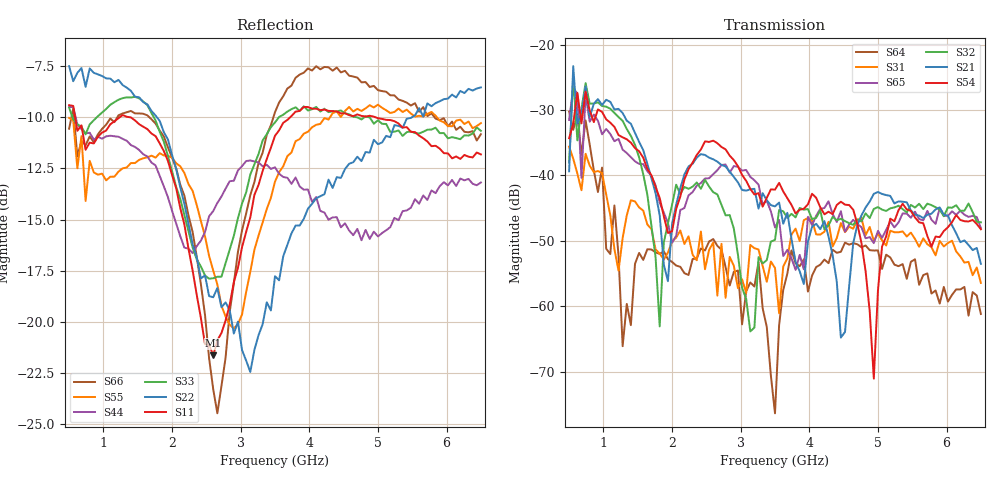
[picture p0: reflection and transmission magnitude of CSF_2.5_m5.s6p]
!Keysight Technologies,M9804A,MY58100912,A.14.10.03
!Date: Thursday, April 27, 2023 10:28:33
!Correction: S11(C  6-Port  )
!S12(C  6-Port  )
!S13(C  6-Port  )
!S14(C  6-Port  )
!S15(C  6-Port  )
!S16(C  6-Port  )
!S21(C  6-Port  )
!S22(C  6-Port  )
!S23(C  6-Port  )
!S24(C  6-Port  )
!S25(C  6-Port  )
!S26(C  6-Port  )
!S31(C  6-Port  )
!S32(C  6-Port  )
!S33(C  6-Port  )
!S34(C  6-Port  )
!S35(C  6-Port  )
!S36(C  6-Port  )
!S41(C  6-Port  )
!S42(C  6-Port  )
!S43(C  6-Port  )
!S44(C  6-Port  )
!S45(C  6-Port  )
!S46(C  6-Port  )
!S51(C  6-Port  )
!S52(C  6-Port  )
!S53(C  6-Port  )
!S54(C  6-Port  )
!S55(C  6-Port  )
!S56(C  6-Port  )
!S61(C  6-Port  )
!S62(C  6-Port  )
!S63(C  6-Port  )
!S64(C  6-Port  )
!S65(C  6-Port  )
!S66(C  6-Port  )
!S6P File: Measurement: :
# Hz S  RI  R 50
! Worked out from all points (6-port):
!   101 points, 500 MHz to 6.5 GHz, reference 50 ohm
!   strongest paths, dB at 500 MHz, 2 GHz, 3.5 GHz, 5 GHz, 6.5 GHz:
!     S54: -34.3, -48.5, -42.2, -57.6, -48.2
!     S21: -39.4, -47.4, -44.7, -42.5, -53.5
!     S32: -38.0, -44.5, -49.9, -44.8, -47.2
!     S65: -31.5, -50.3, -48.0, -48.5, -48.1
!     S31: -35.6, -50.1, -54.1, -48.9, -56.4
!     S64: -30.3, -53.2, -76.4, -51.5, -61.2
!   lowest |S11| = -21.7 dB at 2.6 GHz (marker M1), VSWR 1.18, Z = 42.6 + j2.05 ohm
!   |S11| at or under -10 dB: 587.8 MHz to 1.233 GHz (645 MHz wide, 70.9 % of centre); 1.401 GHz to 3.718 GHz (2.316 GHz wide, 90.5 % of centre); 4.971 GHz to end of sweep
